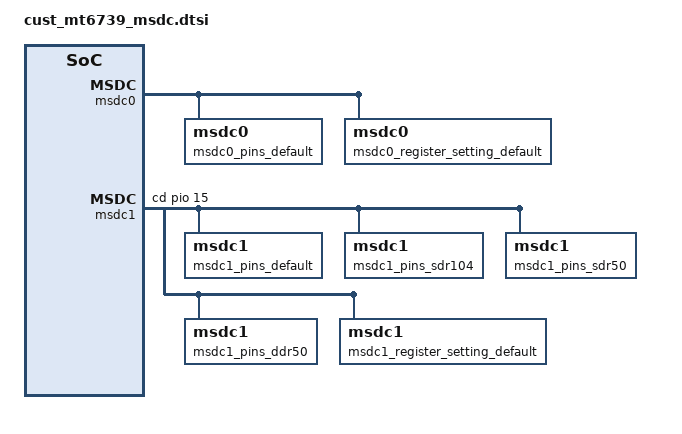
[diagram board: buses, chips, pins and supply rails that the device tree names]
/*
 * Copyright (c) 2017 MediaTek Inc.
 *
 * This program is free software; you can redistribute it and/or modify
 * it under the terms of the GNU General Public License version 2 as
 * published by the Free Software Foundation.
 *
 * This program is distributed in the hope that it will be useful,
 * but WITHOUT ANY WARRANTY; without even the implied warranty of
 * MERCHANTABILITY or FITNESS FOR A PARTICULAR PURPOSE.  See the
 * GNU General Public License for more details.
 */

/**********************************************
 *MT6739 MSDC DTSI File
 ********************************************/
&msdc0 {
	index = /bits/ 8 <0>;
	clk_src = /bits/ 8 <MSDC0_CLKSRC_400MHZ>;
	bus-width = <8>;
	max-frequency = <200000000>;
	cap-mmc-highspeed;
	msdc-sys-suspend;
	mmc-ddr-1_8v;
	mmc-hs200-1_8v;
	mmc-hs400-1_8v;
	non-removable;
	pinctl = <&msdc0_pins_default>;
	pinctl_hs400 = <&msdc0_pins_default>;
	pinctl_hs200 = <&msdc0_pins_default>;
	register_setting = <&msdc0_register_setting_default>;
	host_function = /bits/ 8 <MSDC_EMMC>;
	status = "okay";
	vmmc-supply = <&mt_pmic_vemc_ldo_reg>;
	clocks = <&infracfg_ao CLK_INFRA_MSDC0_SRC>,
		<&infracfg_ao CLK_INFRA_MSDC0>;
	clock-names = "msdc0-clock", "msdc0-hclock";
	hw_dvfs = /bits/ 8 <0>;
};
&msdc1 {
	index = /bits/ 8 <1>;
	clk_src = /bits/ 8 <MSDC1_CLKSRC_200MHZ>;
	bus-width = <4>;
	max-frequency = <200000000>;
	msdc-sys-suspend;
	cap-sd-highspeed;
	sd-uhs-sdr12;
	sd-uhs-sdr25;
	sd-uhs-sdr50;
	sd-uhs-sdr104;
	sd-uhs-ddr50;
	pinctl = <&msdc1_pins_default>;
	pinctl_sdr104 = <&msdc1_pins_sdr104>;
	pinctl_sdr50 = <&msdc1_pins_sdr50>;
	pinctl_ddr50 = <&msdc1_pins_ddr50>;
	register_setting = <&msdc1_register_setting_default>;
	host_function = /bits/ 8 <MSDC_SD>;
	cd_level = /bits/ 8 <MSDC_CD_LOW>;
	cd-gpios = <&pio 15 0>;
	status = "okay";
	vmmc-supply = <&mt_pmic_vmch_ldo_reg>;
	vqmmc-supply = <&mt_pmic_vmc_ldo_reg>;
	clocks = <&infracfg_ao CLK_INFRA_MSDC1_SRC>,
		<&infracfg_ao CLK_INFRA_MSDC1>;
	clock-names = "msdc1-clock", "msdc1-hclock";
	hw_dvfs = /bits/ 8 <0>;
};
&msdc0 {
	msdc0_pins_default: msdc0@default {
		pins_cmd {
			drive-strength = /bits/ 8 <4>;
		};
		pins_dat {
			drive-strength = /bits/ 8 <4>;
		};
		pins_clk {
			drive-strength = /bits/ 8 <4>;
		};
		pins_rst {
			drive-strength = /bits/ 8 <4>;
		};
		pins_ds {
			drive-strength = /bits/ 8 <4>;
		};
	};
	msdc0_register_setting_default: msdc0@register_default {
		cmd_edge = /bits/ 8 <MSDC_SMPL_RISING>;
		rdata_edge = /bits/ 8 <MSDC_SMPL_RISING>;
		wdata_edge = /bits/ 8 <MSDC_SMPL_RISING>;
	};
};
&msdc1 {
	msdc1_pins_default: msdc1@default {
		pins_cmd {
			drive-strength = /bits/ 8 <3>;
		};
		pins_dat {
			drive-strength = /bits/ 8 <3>;
		};
		pins_clk {
			drive-strength = /bits/ 8 <3>;
		};
	};
	msdc1_pins_sdr104: msdc1@sdr104 {
		pins_cmd {
			drive-strength = /bits/ 8 <3>;
		};
		pins_dat {
			drive-strength = /bits/ 8 <3>;
		};
		pins_clk {
			drive-strength = /bits/ 8 <3>;
		};
	};
	msdc1_pins_sdr50: msdc1@sdr50 {
		pins_cmd {
			drive-strength = /bits/ 8 <3>;
		};
		pins_dat {
			drive-strength = /bits/ 8 <3>;
		};
		pins_clk {
			drive-strength = /bits/ 8 <3>;
		};
	};
	msdc1_pins_ddr50: msdc1@ddr50 {
		pins_cmd {
			drive-strength = /bits/ 8 <3>;
		};
		pins_dat {
			drive-strength = /bits/ 8 <3>;
		};
		pins_clk {
			drive-strength = /bits/ 8 <3>;
		};
	};
	msdc1_register_setting_default: msdc1@register_default {
		cmd_edge = /bits/ 8 <MSDC_SMPL_RISING>;
		rdata_edge = /bits/ 8 <MSDC_SMPL_RISING>;
		wdata_edge = /bits/ 8 <MSDC_SMPL_RISING>;
	};
};

